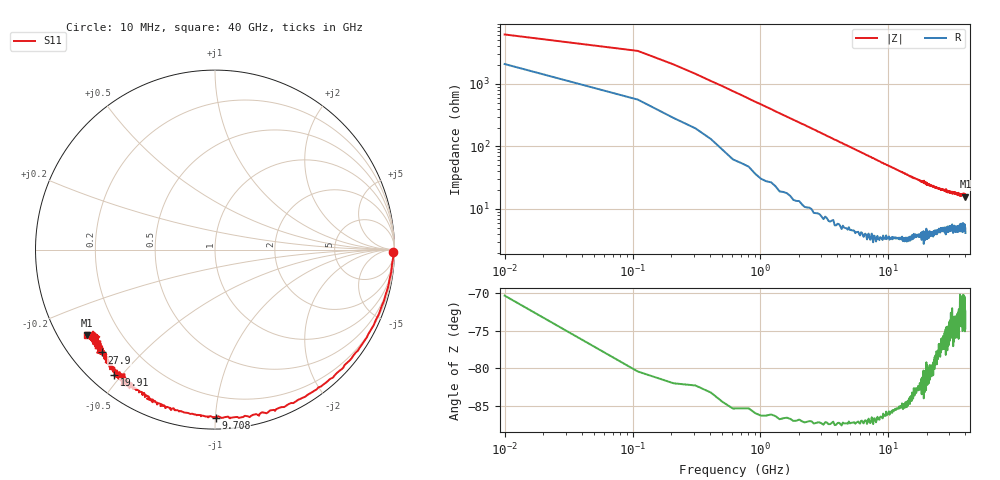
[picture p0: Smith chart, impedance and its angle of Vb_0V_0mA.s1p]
!Agilent Technologies,N5247A,US51170167,A.09.90.10
!Agilent N5247A: A.09.90.10
!Date: Tuesday, November 22, 2016 15:22:29
!Correction: S22(Full 1 Port(2))
!S1P File: Measurement: S22:
# Hz S  RI  R 50
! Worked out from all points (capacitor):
!   401 points, 10 MHz to 40 GHz, reference 50 ohm
!   read as one part to ground: C = 358 fF near 209.9 MHz
!   lowest |Z| = 15.6 ohm at 40 GHz (marker M1)
!   S11 on the Smith chart (normalised r, x): 10 MHz: open; 9.708 GHz: 0.07, -1.00; 19.91 GHz: 0.07, -0.48; 27.9 GHz: 0.09, -0.38; 40 GHz: 0.08, -0.30
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1e7  0.9944 -0.0152
2.0995e8  0.992 -0.0482
1.00975e9  0.9646 -0.2069
2.109475e9  0.8901 -0.4071
3.6091e9  0.7381 -0.6286
5.00875e9  0.5663 -0.7788
6.20845e9  0.409 -0.8613
7.40815e9  0.2608 -0.9066
8.707825e9  0.1114 -0.9333
9.707575e9  0.00381 -0.9368
1.00075e10  -0.0153 -0.9322
1.24069e10  -0.2096 -0.8942
1.500625e10  -0.3657 -0.8267
1.790552e10  -0.4659 -0.7673
1.910522e10  -0.5143 -0.7045
1.990502e10  -0.5634 -0.7001
2.0005e10  -0.5108 -0.7304
2.500375e10  -0.6037 -0.6116
2.790302e10  -0.6287 -0.5731
3.00025e10  -0.6286 -0.5395
3.100225e10  -0.6453 -0.5369
3.190202e10  -0.6367 -0.528
3.500125e10  -0.6595 -0.5155
3.650088e10  -0.6587 -0.4944
3.80005e10  -0.6656 -0.4797
3.92002e10  -0.6733 -0.4894
3.970008e10  -0.6776 -0.5157
4e10  -0.7154 -0.4767
